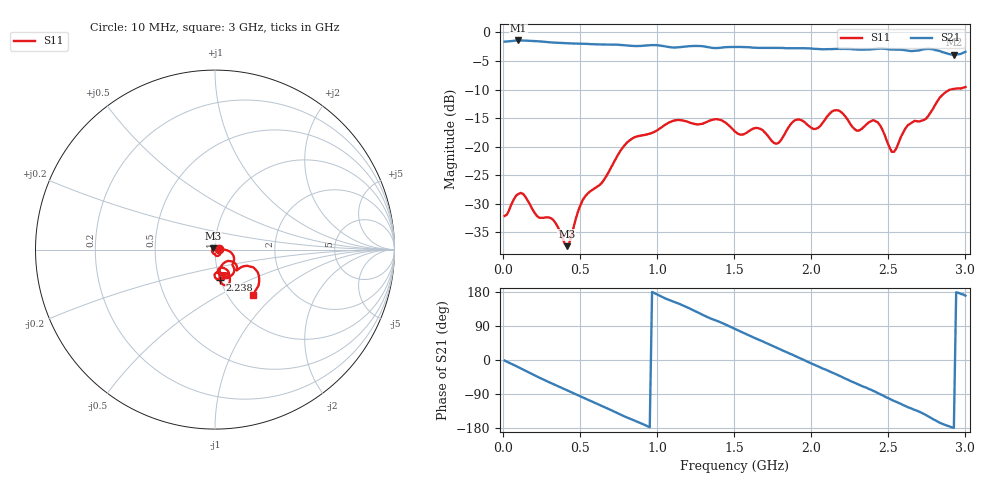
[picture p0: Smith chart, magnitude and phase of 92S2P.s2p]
!File created by NanoVNA
# Hz S RI R 50
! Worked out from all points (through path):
!   201 points, 10 MHz to 3 GHz, reference 50 ohm
!   highest |S21| = -1.41 dB at 99.7 MHz (marker M1); lowest = -3.9 dB at 2.925 GHz (marker M2)
!   group delay of S21, straight-line fit = 508 ps
!   lowest |S11| = -37.4 dB at 413.6 MHz (marker M3), VSWR 1.03, Z = 48.9 + j0.801 ohm
!   |S11| at or under -10 dB: start of sweep to 2.905 GHz
!   S12 and S22 are empty: the file has one direction only
!   S11 on the Smith chart (normalised r, x): 10 MHz: 1.05, +0.01; 2.238 GHz: 1.00, -0.35; 3 GHz: 1.30, -0.75
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1e7  0.0246 0.00275  0.8297 -0.0194  0 0  0 0
9.97e7  0.0272 -0.0274  0.8028 -0.2803  0 0  0 0
2.492e8  -0.000198 -0.0238  0.5438 -0.6302  0 0  0 0
3.2395e8  -0.0107 -0.0203  0.3684 -0.7271  0 0  0 0
4.1365e8  -0.0107 0.00818  0.1444 -0.7908  0 0  0 0
5.183e8  0.0296 0.0174  -0.1223 -0.7863  0 0  0 0
7.7245e8  0.0941 -0.0213  -0.642 -0.4359  0 0  0 0
1.01165e9  0.1036 -0.0977  -0.759 0.1277  0 0  0 0
1.28075e9  0.048 -0.1499  -0.4025 0.6443  0 0  0 0
1.505e9  -0.000427 -0.1355  0.1051 0.7385  0 0  0 0
1.6545e9  0.0323 -0.1416  0.427 0.5948  0 0  0 0
1.78905e9  0.0397 -0.1007  0.6349 0.364  0 0  0 0
1.8937e9  0.0772 -0.1512  0.7145 0.1362  0 0  0 0
2.0133e9  0.0506 -0.1334  0.7051 -0.1397  0 0  0 0
2.14785e9  0.0744 -0.1935  0.5856 -0.4129  0 0  0 0
2.23755e9  0.0273 -0.1686  0.4422 -0.564  0 0  0 0
2.29735e9  0.0385 -0.1321  0.321 -0.6315  0 0  0 0
2.4319e9  0.0352 -0.1589  0.0331 -0.7185  0 0  0 0
2.50665e9  0.0341 -0.0934  -0.1468 -0.6951  0 0  0 0
2.77575e9  0.1789 -0.09  -0.6346 -0.3296  0 0  0 0
2.92525e9  0.2286 -0.2245  -0.638 -0.0107  0 0  0 0
3e9  0.2122 -0.2557  -0.6663 0.1195  0 0  0 0
